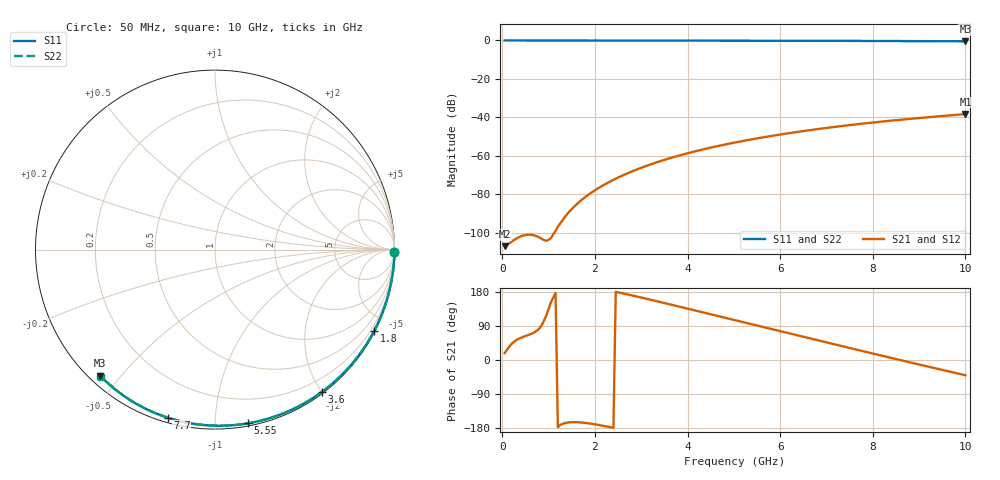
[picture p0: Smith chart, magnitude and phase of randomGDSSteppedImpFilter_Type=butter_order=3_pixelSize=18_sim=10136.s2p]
! freq	dB(S11)	phase(S11)	dB(S12)	phase(S12)
!  dB(S21)	phase(S21)	dB(S22)	phase(S22)
!S-par simulation data
#  GHz  S  DB  R 50
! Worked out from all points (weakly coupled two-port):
!   200 points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, 50 MHz to 10 GHz, reference 50 ohm
!   highest |S21| = -38.33 dB at 10 GHz (marker M1); lowest = -107.1 dB at 50 MHz (marker M2)
!   lowest |S11| = -0.4 dB at 10 GHz (marker M3), VSWR 39.22, Z = 1.52 - j22 ohm
!   |S11| at or under -10 dB: nowhere
!   |S22| runs from -0.4 to 0.0 dB; largest |S21 - S12| = 0
!   S11 on the Smith chart (normalised r, x): 50 MHz: open; 1.8 GHz: 0.04, -4.15; 3.6 GHz: 0.02, -2.00; 5.55 GHz: 0.02, -1.21; 7.7 GHz: 0.02, -0.76; 10 GHz: 0.03, -0.44
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0.05  -0.00 -0.8  -107.10 17.9  -107.10 17.9  -0.00 -0.8
0.45  -0.01 -6.9  -101.58 60.9  -101.58 60.9  -0.01 -6.9
0.9  -0.02 -13.7  -103.94 103.6  -103.94 103.6  -0.02 -13.6
1.75  -0.03 -26.4  -82.32 -165.5  -82.32 -165.5  -0.03 -26.3
1.8  -0.03 -27.1  -81.38 -166.2  -81.38 -166.2  -0.03 -27.0
1.85  -0.04 -27.9  -80.49 -167.0  -80.49 -167.0  -0.04 -27.8
1.9  -0.04 -28.6  -79.64 -167.8  -79.64 -167.8  -0.04 -28.5
2.05  -0.04 -30.8  -77.26 -170.7  -77.26 -170.7  -0.04 -30.7
2.25  -0.04 -33.7  -74.45 -175.3  -74.45 -175.3  -0.04 -33.6
2.65  -0.05 -39.5  -69.72 174.5  -69.72 174.5  -0.05 -39.4
3  -0.06 -44.6  -66.29 164.8  -66.29 164.8  -0.06 -44.4
3.4  -0.07 -50.2  -62.93 153.3  -62.93 153.3  -0.07 -50.1
3.6  -0.07 -53.0  -61.43 147.4  -61.43 147.4  -0.07 -52.9
4.3  -0.09 -62.7  -56.92 126.5  -56.92 126.5  -0.09 -62.5
5.05  -0.11 -72.7  -53.01 104.1  -53.01 104.1  -0.11 -72.4
5.55  -0.13 -79.2  -50.78 89.3  -50.78 89.3  -0.13 -78.9
6.1  -0.15 -86.2  -48.61 73.0  -48.61 73.0  -0.15 -85.9
6.7  -0.18 -93.7  -46.51 55.3  -46.51 55.3  -0.18 -93.4
7.7  -0.24 -105.7  -43.52 25.8  -43.52 25.8  -0.24 -105.4
8.35  -0.29 -113.4  -41.86 6.8  -41.86 6.8  -0.29 -113.0
9.15  -0.36 -122.7  -40.07 -16.2  -40.07 -16.2  -0.36 -122.2
10  -0.44 -132.4  -38.33 -40.3  -38.33 -40.3  -0.45 -131.9
